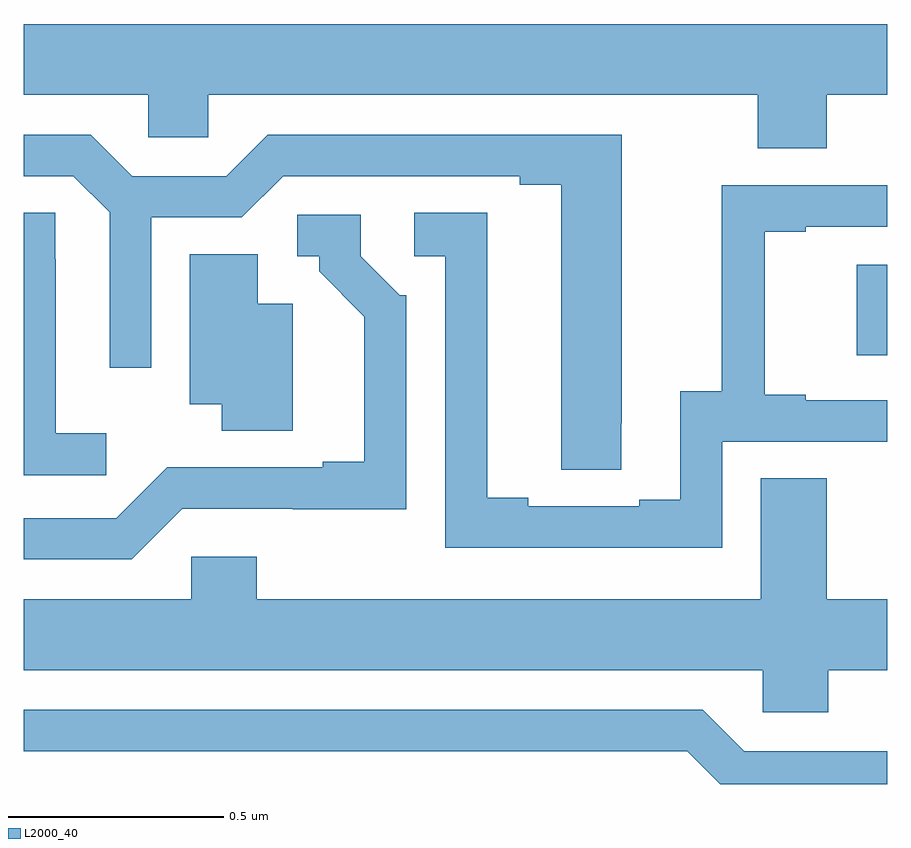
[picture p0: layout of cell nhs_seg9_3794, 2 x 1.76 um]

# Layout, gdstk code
import gdstk
lib = gdstk.Library(unit=1e-6, precision=1e-09)
def R(c, l, rs):  # rectangles x0, y0, x1, y1
    for r in rs: c.add(gdstk.rectangle(r[:2], r[2:], *l))
def P(c, l, *ps):  # polygons
    for p in ps: c.add(gdstk.Polygon(p, *l))
L2000_40 = (2000, 40)

nhs_seg9_3794 = lib.new_cell('nhs_seg9_3794')
R(nhs_seg9_3794, L2000_40, [(159.929,1186.493,160,1186.702)])
P(nhs_seg9_3794, L2000_40, [(159.86,1187.096),(160,1187.096),(160,1187.26),(158,1187.26),(158,1187.096),(158.289,1187.096),(158.289,1186.998),(158.427,1186.998),(158.427,1187.096),(159.7,1187.096),(159.7,1186.972),(159.86,1186.972)],
  [(159.384,1186.336),(159.385,1186.336),(159.385,1187.004),(158.565,1187.004),(158.469,1186.908),(158.251,1186.908),(158.155,1187.004),(158,1187.004),(158,1186.908),(158.115,1186.908),(158.199,1186.824),(158.199,1186.464),(158.295,1186.464),(158.295,1186.812),(158.505,1186.812),(158.601,1186.908),(159.149,1186.908),(159.149,1186.888),(159.245,1186.888),(159.245,1186.228),(159.384,1186.228)],
  [(159.618,1186.293),(160,1186.293),(160,1186.389),(159.811,1186.389),(159.811,1186.402),(159.716,1186.402),(159.716,1186.779),(159.811,1186.779),(159.811,1186.791),(160,1186.791),(160,1186.887),(159.616,1186.887),(159.616,1186.409),(159.521,1186.409),(159.521,1186.158),(159.425,1186.158),(159.425,1186.143),(159.169,1186.143),(159.169,1186.163),(159.073,1186.163),(159.073,1186.823),(158.904,1186.823),(158.904,1186.722),(158.976,1186.722),(158.976,1186.047),(159.618,1186.047)],
  [(158.191,1186.312),(158.074,1186.312),(158.074,1186.715),(158.073,1186.715),(158.073,1186.823),(158,1186.823),(158,1186.215),(158.191,1186.215)],
  [(158.367,1186.137),(158.623,1186.137),(158.623,1186.136),(158.886,1186.136),(158.886,1186.632),(158.871,1186.632),(158.781,1186.722),(158.781,1186.818),(158.634,1186.818),(158.634,1186.722),(158.684,1186.722),(158.684,1186.687),(158.789,1186.582),(158.789,1186.246),(158.693,1186.246),(158.693,1186.233),(158.428,1186.233),(158.428,1186.234),(158.332,1186.234),(158.214,1186.116),(158,1186.116),(158,1186.02),(158.25,1186.02)],
  [(158.623,1186.612),(158.542,1186.612),(158.542,1186.727),(158.384,1186.727),(158.384,1186.379),(158.459,1186.379),(158.459,1186.318),(158.623,1186.318)],
  [(159.863,1185.764),(160,1185.764),(160,1185.928),(159.86,1185.928),(159.86,1186.208),(159.707,1186.208),(159.707,1185.928),(158.54,1185.928),(158.54,1186.026),(158.388,1186.026),(158.388,1185.928),(158,1185.928),(158,1185.764),(159.711,1185.764),(159.711,1185.666),(159.863,1185.666)],
  [(160,1185.576),(159.669,1185.576),(159.573,1185.672),(158,1185.672),(158,1185.576),(159.537,1185.576),(159.613,1185.5),(160,1185.5)])

lib.write_gds('nhs_seg9_3794.gds')
